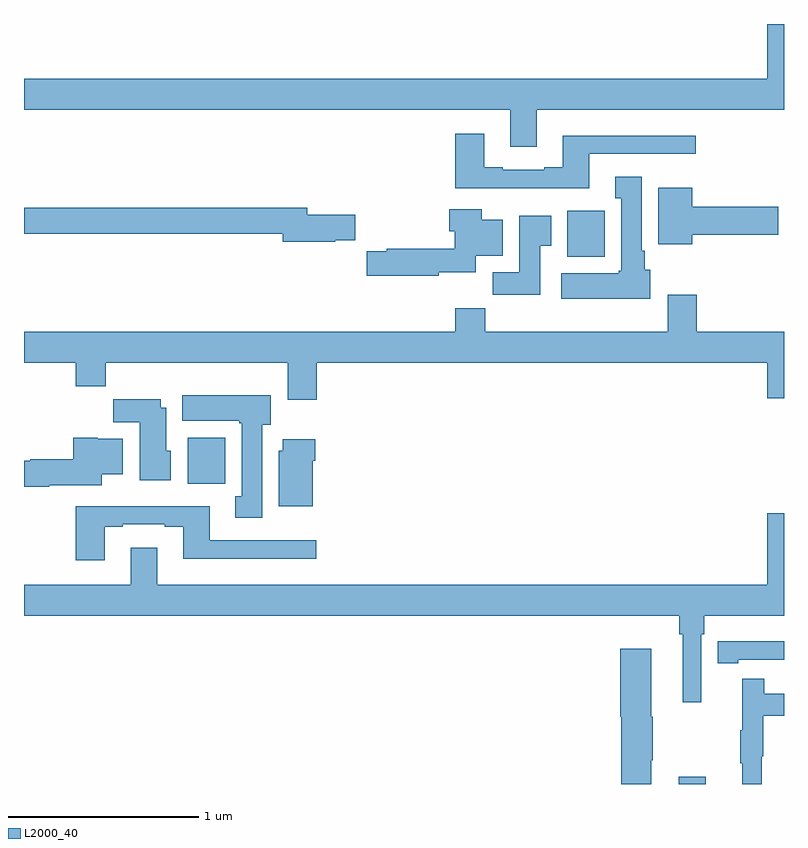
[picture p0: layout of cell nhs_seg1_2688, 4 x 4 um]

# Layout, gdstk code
import gdstk
lib = gdstk.Library(unit=1e-6, precision=1e-09)
def R(c, l, rs):  # rectangles x0, y0, x1, y1
    for r in rs: c.add(gdstk.rectangle(r[:2], r[2:], *l))
def P(c, l, *ps):  # polygons
    for p in ps: c.add(gdstk.Polygon(p, *l))
L2000_40 = (2000, 40)

nhs_seg1_2688 = lib.new_cell('nhs_seg1_2688')
R(nhs_seg1_2688, L2000_40, [(260.447,532.199,260.587,532.237), (257.861,533.78,258.058,534.022), (259.859,534.974,260.056,535.216)])
P(nhs_seg1_2688, L2000_40, [(259.699,535.748),(261,535.748),(261,536.199),(260.912,536.199),(260.912,535.912),(257,535.912),(257,535.748),(259.559,535.748),(259.559,535.554),(259.699,535.554)],
  [(259.975,535.515),(260.536,535.515),(260.536,535.612),(259.835,535.612),(259.835,535.444),(259.739,535.444),(259.739,535.431),(259.519,535.431),(259.519,535.444),(259.423,535.444),(259.423,535.621),(259.271,535.621),(259.271,535.334),(259.975,535.334)],
  [(260.296,534.906),(260.266,534.906),(260.266,535.006),(260.251,535.006),(260.251,535.396),(260.111,535.396),(260.111,535.283),(260.144,535.283),(260.144,534.9),(260.131,534.9),(260.131,534.886),(259.827,534.886),(259.827,534.752),(260.296,534.752)],
  [(260.518,535.091),(260.971,535.091),(260.971,535.238),(260.518,535.238),(260.518,535.336),(260.339,535.336),(260.339,535.04),(260.518,535.04)],
  [(258.638,535.062),(258.743,535.062),(258.743,535.196),(258.49,535.196),(258.49,535.232),(257,535.232),(257,535.096),(258.362,535.096),(258.362,535.054),(258.638,535.054)],
  [(259.182,534.893),(259.378,534.893),(259.378,534.98),(259.519,534.98),(259.519,535.168),(259.408,535.168),(259.408,535.225),(259.238,535.225),(259.238,535.107),(259.268,535.107),(259.268,535.016),(258.91,535.016),(258.91,535.004),(258.805,535.004),(258.805,534.874),(259.182,534.874)],
  [(259.717,535.033),(259.774,535.033),(259.774,535.189),(259.607,535.189),(259.607,534.892),(259.468,534.892),(259.468,534.774),(259.717,534.774)],
  [(257,534.416),(257.273,534.416),(257.273,534.292),(257.429,534.292),(257.429,534.416),(258.389,534.416),(258.389,534.222),(258.541,534.222),(258.541,534.416),(260.912,534.416),(260.912,534.228),(261,534.228),(261,534.58),(260.54,534.58),(260.54,534.775),(260.387,534.775),(260.387,534.58),(259.427,534.58),(259.427,534.704),(259.271,534.704),(259.271,534.58),(257,534.58)],
  [(258.253,534.09),(258.298,534.09),(258.298,534.244),(257.834,534.244),(257.834,534.11),(258.133,534.11),(258.133,534.097),(258.146,534.097),(258.146,533.714),(258.113,533.714),(258.113,533.601),(258.253,533.601)],
  [(257.773,533.952),(257.749,533.952),(257.749,534.178),(257.719,534.178),(257.719,534.223),(257.47,534.223),(257.47,534.104),(257.609,534.104),(257.609,533.798),(257.773,533.798)],
  [(257.134,533.771),(257.41,533.771),(257.41,533.828),(257.521,533.828),(257.521,534.016),(257.388,534.016),(257.388,534.022),(257.258,534.022),(257.258,533.908),(257.034,533.908),(257.034,533.9),(257,533.9),(257,533.764),(257.134,533.764)],
  [(258.52,533.9),(258.533,533.9),(258.533,534.013),(258.362,534.013),(258.362,533.952),(258.341,533.952),(258.341,533.66),(258.52,533.66)],
  [(257.425,533.553),(257.521,533.553),(257.521,533.565),(257.741,533.565),(257.741,533.553),(257.837,533.553),(257.837,533.384),(258.538,533.384),(258.538,533.481),(257.977,533.481),(257.977,533.662),(257.273,533.662),(257.273,533.376),(257.425,533.376)],
  [(257.701,533.443),(257.561,533.443),(257.561,533.248),(257,533.248),(257,533.084),(260.449,533.084),(260.449,532.988),(260.468,532.988),(260.468,532.629),(260.565,532.629),(260.565,532.988),(260.579,532.988),(260.579,533.084),(261,533.084),(261,533.623),(260.912,533.623),(260.912,533.248),(257.701,533.248)],
  [(260.758,532.854),(261,532.854),(261,532.951),(260.758,532.951),(260.758,532.95),(260.65,532.95),(260.65,532.834),(260.758,532.834)],
  [(260.302,532.324),(260.31,532.324),(260.31,532.554),(260.302,532.554),(260.302,532.912),(260.138,532.912),(260.138,532.554),(260.144,532.554),(260.144,532.199),(260.302,532.199)],
  [(260.882,532.344),(260.89,532.344),(260.89,532.558),(261,532.558),(261,532.674),(260.897,532.674),(260.897,532.753),(260.779,532.753),(260.779,532.481),(260.769,532.481),(260.769,532.307),(260.779,532.307),(260.779,532.199),(260.882,532.199)])

lib.write_gds('nhs_seg1_2688.gds')
